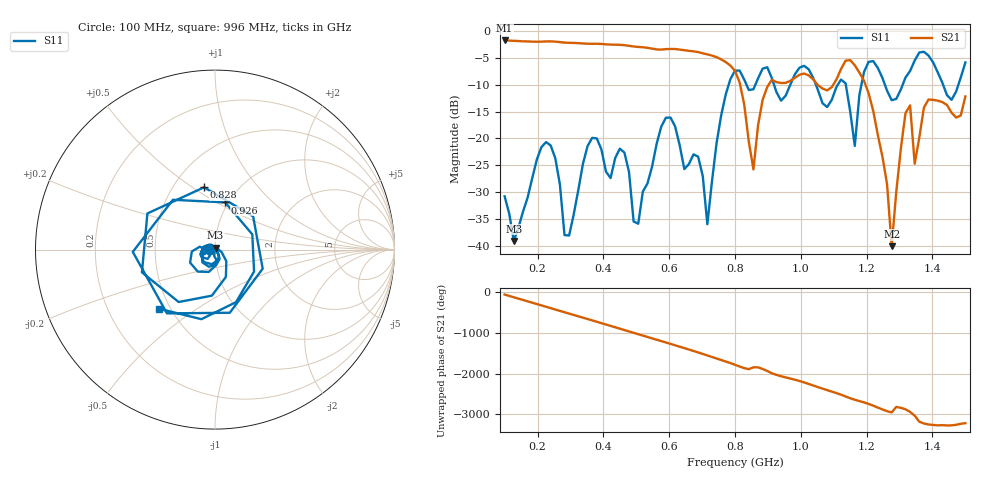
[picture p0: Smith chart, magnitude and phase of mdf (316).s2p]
! NanoVNA-App
! Date: 2025-09-25 15:40:53
! Start: 100MHz Stop: 1,5GHz Points: 101
! S-Parameter data: F S11 S21 S12 S22
# Hz S RI R 50
!  Frequency  S11_Real  S11_Imag  S21_Real  S21_Imag  S12_Real  S12_Imag  S22_Real  S22_Imag
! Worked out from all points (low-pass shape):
!   101 points, 100 MHz to 1.5 GHz, reference 50 ohm
!   highest |S21| = -1.80 dB at 100 MHz (marker M1); lowest = -40.0 dB at 1.276 GHz (marker M2)
!   |S21| within 3 dB of the highest: start of sweep to 739.4 MHz
!   lowest |S11| = -39.0 dB at 128 MHz (marker M3), VSWR 1.02, Z = 50.3 + j1.07 ohm
!   |S11| at or under -10 dB: start of sweep to 780.9 MHz; 918.5 MHz to 968.2 MHz (49.71 MHz wide, 5.27 % of centre); 1.046 GHz to 1.113 GHz (67.17 MHz wide, 6.22 % of centre) (the widest 3 of 7)
!   S12 and S22 are empty: the file has one direction only
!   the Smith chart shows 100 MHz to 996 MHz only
!   S11 on the Smith chart (normalised r, x): 100 MHz: 0.94, -0.01; 828 MHz: 0.70, +0.56; 926 MHz: 0.97, +0.55; 996 MHz: 0.43, -0.36
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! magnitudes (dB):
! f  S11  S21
! 100 MHz  -30.7  -1.8
! 128 MHz  -39.0  -1.9
! 212 MHz  -21.6  -2.0
! 282 MHz  -37.9  -2.2
! 338 MHz  -24.7  -2.4
! 464 MHz  -22.6  -2.7
! 506 MHz  -35.8  -3.0
! 576 MHz  -17.8  -3.5
! 688 MHz  -23.4  -4.0
! 716 MHz  -35.9  -4.4
! 800 MHz  -7.4  -7.5
! 828 MHz  -9.1  -13.7
! 856 MHz  -10.9  -25.7
! 926 MHz  -11.4  -9.5
! 996 MHz  -6.9  -8.2
! 1.038 GHz  -8.8  -9.1
! 1.164 GHz  -21.4  -6.4
! 1.192 GHz  -7.6  -9.3
! 1.276 GHz  -12.9  -40.0
! 1.318 GHz  -8.7  -15.3
! 1.346 GHz  -5.5  -24.7
! 1.5 GHz  -5.9  -12.2
